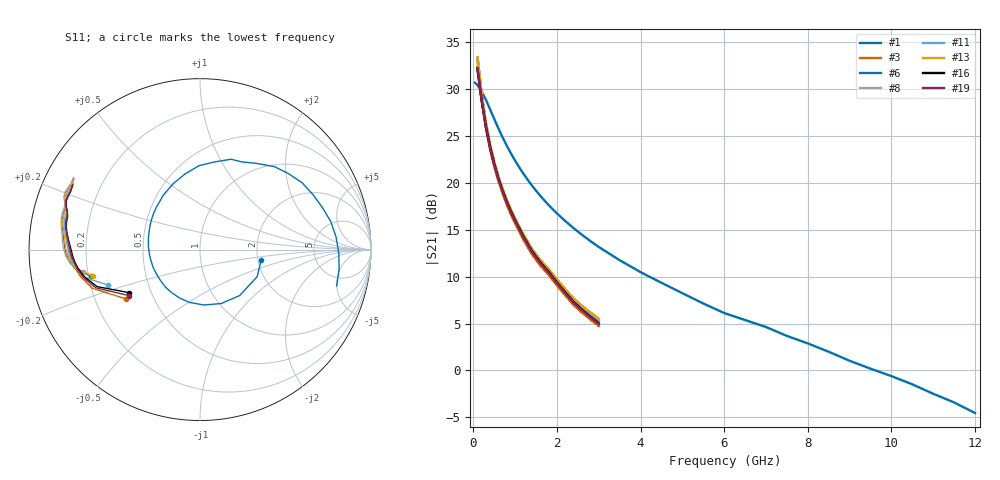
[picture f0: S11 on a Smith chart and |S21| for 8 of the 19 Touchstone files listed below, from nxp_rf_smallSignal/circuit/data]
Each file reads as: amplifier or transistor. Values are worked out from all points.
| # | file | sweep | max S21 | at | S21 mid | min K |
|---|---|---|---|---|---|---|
| 1 | bf425w_1V_20mA.s2p | 40 MHz to 12 GHz | 30.7 dB | 40 MHz | 15.2 dB at 2.4 GHz | 0.48 |
| 2 | bfg4w25_1V_2mA.s2p | 40 MHz to 12 GHz | 16.6 dB | 40 MHz | 11.1 dB at 2.4 GHz | 0.06 |
| 3 | bfg21W_3_2V_50mA.s2p | 100 MHz to 3 GHz | 32.3 dB | 100 MHz | 13.9 dB at 1.2 GHz | 0.38 |
| 4 | bfg21W_3_2V_75mA.s2p | 100 MHz to 3 GHz | 32.9 dB | 100 MHz | 14.2 dB at 1.2 GHz | 0.47 |
| 5 | bfg21W_3_2V_100mA.s2p | 100 MHz to 3 GHz | 33.2 dB | 100 MHz | 14.4 dB at 1.2 GHz | 0.53 |
| 6 | bfg21W_3_2V_125mA.s2p | 100 MHz to 3 GHz | 33.4 dB | 100 MHz | 14.4 dB at 1.2 GHz | 0.56 |
| 7 | bfg21W_3_2V_150mA.s2p | 100 MHz to 3 GHz | 33.4 dB | 100 MHz | 14.3 dB at 1.2 GHz | 0.60 |
| 8 | bfg21W_3_2V_175mA.s2p | 100 MHz to 3 GHz | 33.4 dB | 100 MHz | 14.2 dB at 1.2 GHz | 0.63 |
| 9 | bfg21W_3_6V_25mA.s2p | 100 MHz to 3 GHz | 30.4 dB | 100 MHz | 13.1 dB at 1.2 GHz | 0.29 |
| 10 | bfg21W_3_6V_50mA.s2p | 100 MHz to 3 GHz | 32.4 dB | 100 MHz | 14.1 dB at 1.2 GHz | 0.44 |
| 11 | bfg21W_3_6V_75mA.s2p | 100 MHz to 3 GHz | 32.9 dB | 100 MHz | 14.4 dB at 1.2 GHz | 0.52 |
| 12 | bfg21W_3_6V_100mA.s2p | 100 MHz to 3 GHz | 33.2 dB | 100 MHz | 14.5 dB at 1.2 GHz | 0.57 |
| 13 | bfg21W_3_6V_125mA.s2p | 100 MHz to 3 GHz | 33.4 dB | 100 MHz | 14.5 dB at 1.2 GHz | 0.59 |
| 14 | bfg21W_3_6V_150mA.s2p | 100 MHz to 3 GHz | 33.5 dB | 100 MHz | 14.5 dB at 1.2 GHz | 0.61 |
| 15 | bfg21W_4_4V_25mA.s2p | 100 MHz to 3 GHz | 30.5 dB | 100 MHz | 13.3 dB at 1.2 GHz | 0.38 |
| 16 | bfg21W_4_4V_50mA.s2p | 100 MHz to 3 GHz | 32.1 dB | 100 MHz | 14.3 dB at 1.2 GHz | 0.58 |
| 17 | bfg21W_4_4V_75mA.s2p | 100 MHz to 3 GHz | 32.5 dB | 100 MHz | 14.6 dB at 1.2 GHz | 0.67 |
| 18 | bfg21W_4V_25mA.s2p | 100 MHz to 3 GHz | 30.4 dB | 100 MHz | 13.2 dB at 1.2 GHz | 0.34 |
| 19 | bfg21W_4V_50mA.s2p | 100 MHz to 3 GHz | 32.3 dB | 100 MHz | 14.2 dB at 1.2 GHz | 0.51 |
